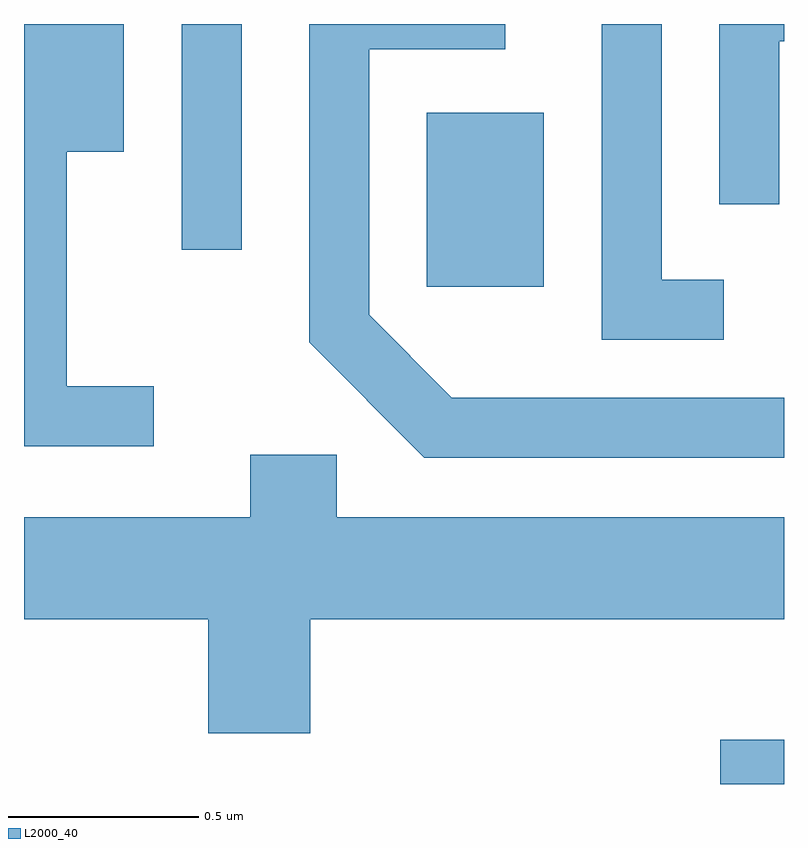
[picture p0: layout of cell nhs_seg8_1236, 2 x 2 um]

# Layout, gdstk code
import gdstk
lib = gdstk.Library(unit=1e-6, precision=1e-09)
def R(c, l, rs):  # rectangles x0, y0, x1, y1
    for r in rs: c.add(gdstk.rectangle(r[:2], r[2:], *l))
def P(c, l, *ps):  # polygons
    for p in ps: c.add(gdstk.Polygon(p, *l))
L2000_40 = (2000, 40)

nhs_seg8_1236 = lib.new_cell('nhs_seg8_1236')
R(nhs_seg8_1236, L2000_40, [(196.443,1809.342,196.611,1809.459), (195.671,1810.651,195.979,1811.109), (195.026,1810.748,195.184,1811.342)])
P(nhs_seg8_1236, L2000_40, [(196.611,1810.359),(195.737,1810.359),(195.519,1810.577),(195.519,1811.276),(195.878,1811.276),(195.878,1811.342),(195.361,1811.342),(195.361,1810.504),(195.664,1810.201),(196.611,1810.201)],
  [(196.453,1810.669),(196.289,1810.669),(196.289,1811.342),(196.131,1811.342),(196.131,1810.511),(196.453,1810.511)],
  [(194.953,1810.389),(194.724,1810.389),(194.724,1811.006),(194.874,1811.006),(194.874,1811.342),(194.611,1811.342),(194.611,1810.231),(194.953,1810.231)],
  [(196.599,1811.296),(196.611,1811.296),(196.611,1811.342),(196.441,1811.342),(196.441,1810.868),(196.599,1810.868)],
  [(195.364,1809.776),(196.611,1809.776),(196.611,1810.044),(195.434,1810.044),(195.434,1810.209),(195.206,1810.209),(195.206,1810.044),(194.611,1810.044),(194.611,1809.776),(195.096,1809.776),(195.096,1809.476),(195.364,1809.476)])

lib.write_gds('nhs_seg8_1236.gds')
